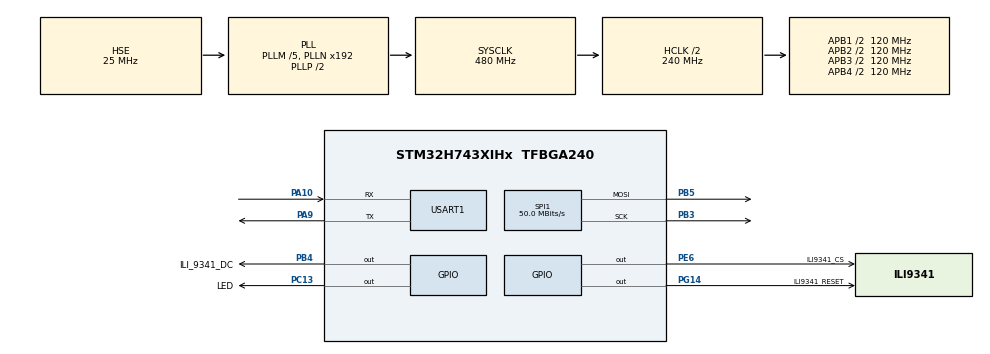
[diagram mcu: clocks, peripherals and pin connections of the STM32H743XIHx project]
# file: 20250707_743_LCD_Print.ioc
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CORTEX_M7.default_mode_Activation=1
Mcu.Family=STM32H7
Mcu.Name=STM32H743XIHx
Mcu.Package=TFBGA240
NVIC.PriorityGroup=NVIC_PRIORITYGROUP_4
PA10.Mode=Asynchronous
PA10.Signal=USART1_RX
PA13\ (JTMS/SWDIO).Mode=Serial_Wire
PA13\ (JTMS/SWDIO).Signal=DEBUG_JTMS-SWDIO
PA14\ (JTCK/SWCLK).Mode=Serial_Wire
PA14\ (JTCK/SWCLK).Signal=DEBUG_JTCK-SWCLK
PA9.Mode=Asynchronous
PA9.Signal=USART1_TX
PB3\ (JTDO/TRACESWO).Mode=TX_Only_Simplex_Unidirect_Master
PB3\ (JTDO/TRACESWO).Signal=SPI1_SCK
PB4\ (NJTRST).GPIO_Label=ILI_9341_DC
PB4\ (NJTRST).Signal=GPIO_Output
PB5.Mode=TX_Only_Simplex_Unidirect_Master
PB5.Signal=SPI1_MOSI
PC13.GPIO_Label=LED
PC13.Signal=GPIO_Output
PE6.GPIO_Label=ILI9341_CS
PE6.Signal=GPIO_Output
PG14.GPIO_Label=ILI9341_RESET
PG14.Signal=GPIO_Output
PH0-OSC_IN\ (PH0).Mode=HSE-External-Oscillator
PH0-OSC_IN\ (PH0).Signal=RCC_OSC_IN
PH1-OSC_OUT\ (PH1).Mode=HSE-External-Oscillator
PH1-OSC_OUT\ (PH1).Signal=RCC_OSC_OUT
ProjectManager.HeapSize=0x200
ProjectManager.StackSize=0x400
ProjectManager.TargetToolchain=STM32CubeIDE
RCC.ADCFreq_Value=50390625
RCC.APB1Freq_Value=120000000
RCC.APB2Freq_Value=120000000
RCC.APB3Freq_Value=120000000
RCC.APB4Freq_Value=120000000
RCC.CortexFreq_Value=480000000
RCC.D1PPRE=RCC_APB3_DIV2
RCC.D2PPRE1=RCC_APB1_DIV2
RCC.D2PPRE2=RCC_APB2_DIV2
RCC.D3PPRE=RCC_APB4_DIV2
RCC.DIVM1=5
RCC.DIVM3=25
RCC.DIVN1=192
RCC.DIVN3=200
RCC.HCLKFreq_Value=240000000
RCC.HPRE=RCC_HCLK_DIV2
RCC.PLLFRACN=0
RCC.PLLSourceVirtual=RCC_PLLSOURCE_HSE
RCC.SPI123CLockSelection=RCC_SPI123CLKSOURCE_PLL3
RCC.SYSCLKFreq_VALUE=480000000
RCC.SYSCLKSource=RCC_SYSCLKSOURCE_PLLCLK
RCC.USBFreq_Value=480000000
SPI1.BaudRatePrescaler=SPI_BAUDRATEPRESCALER_2
SPI1.CalculateBaudRate=50.0 MBits/s
SPI1.DataSize=SPI_DATASIZE_8BIT
SPI1.Direction=SPI_DIRECTION_2LINES_TXONLY
SPI1.Mode=SPI_MODE_MASTER
SPI1.VirtualType=VM_MASTER
USART1.VirtualMode-Asynchronous=VM_ASYNC
VP_MEMORYMAP_VS_MEMORYMAP.Mode=CurAppReg
board=custom

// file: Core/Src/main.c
/* USER CODE BEGIN Header */
/**
  ******************************************************************************
  * @file           : main.c
  * @brief          : Main program body
  ******************************************************************************
  * @attention
  *
  * Copyright (c) 2025 STMicroelectronics.
  * All rights reserved.
  *
  * This software is licensed under terms that can be found in the LICENSE file
  * in the root directory of this software component.
  * If no LICENSE file comes with this software, it is provided AS-IS.
  *
  ******************************************************************************
  */
/* USER CODE END Header */
#include "main.h"
#include "memorymap.h"
#include "spi.h"
#include "usart.h"
#include "gpio.h"

/* USER CODE BEGIN Includes */
#include <stdio.h>
#include "ili9341.h"
#include "fonts.h"
#include "testimg.h"
#include "pic_240x320.h"
/* USER CODE END Includes */

void SystemClock_Config(void);
static void MPU_Config(void);

/* USER CODE BEGIN 0 */
int __io_putchar(int ch)
{

 HAL_UART_Transmit(&huart1, (uint8_t *)&ch, 1, 1000);
 return ch;
}
/* USER CODE END 0 */

int main(void)
{

  /* MPU Configuration--------------------------------------------------------*/
  MPU_Config();

  /* MCU Configuration--------------------------------------------------------*/

  /* Reset of all peripherals, Initializes the Flash interface and the Systick. */
  HAL_Init();

  /* Configure the system clock */
  SystemClock_Config();

  /* Initialize all configured peripherals */
  MX_GPIO_Init();
  MX_USART1_UART_Init();
  MX_SPI1_Init();
  /* USER CODE BEGIN 2 */

ILI9341_Init();
  uint32_t counter = 0;
  ILI9341_Init();
  /* USER CODE END 2 */

  /* Infinite loop */
  /* USER CODE BEGIN WHILE */
  while (1)
  {
	  ILI9341_FillScreen(ILI9341_BLACK);
	  HAL_Delay(500);
	  ILI9341_FillScreen(ILI9341_RED);
	  HAL_Delay(500);
	  ILI9341_FillScreen(ILI9341_BLUE);
	  HAL_Delay(500);
    /* USER CODE END WHILE */

  }
}

void SystemClock_Config(void)
{
  RCC_OscInitTypeDef RCC_OscInitStruct = {0};
  RCC_ClkInitTypeDef RCC_ClkInitStruct = {0};

  /** Supply configuration update enable
  */
  HAL_PWREx_ConfigSupply(PWR_LDO_SUPPLY);

  /** Configure the main internal regulator output voltage
  */
  __HAL_PWR_VOLTAGESCALING_CONFIG(PWR_REGULATOR_VOLTAGE_SCALE0);

  while(!__HAL_PWR_GET_FLAG(PWR_FLAG_VOSRDY)) {}

  /** Initializes the RCC Oscillators according to the specified parameters
  * in the RCC_OscInitTypeDef structure.
  */
  RCC_OscInitStruct.OscillatorType = RCC_OSCILLATORTYPE_HSE;
  RCC_OscInitStruct.HSEState = RCC_HSE_ON;
  RCC_OscInitStruct.PLL.PLLState = RCC_PLL_ON;
  RCC_OscInitStruct.PLL.PLLSource = RCC_PLLSOURCE_HSE;
  RCC_OscInitStruct.PLL.PLLM = 5;
  RCC_OscInitStruct.PLL.PLLN = 192;
  RCC_OscInitStruct.PLL.PLLP = 2;
  RCC_OscInitStruct.PLL.PLLQ = 2;
  RCC_OscInitStruct.PLL.PLLR = 2;
  RCC_OscInitStruct.PLL.PLLRGE = RCC_PLL1VCIRANGE_2;
  RCC_OscInitStruct.PLL.PLLVCOSEL = RCC_PLL1VCOWIDE;
  RCC_OscInitStruct.PLL.PLLFRACN = 0;
  if (HAL_RCC_OscConfig(&RCC_OscInitStruct) != HAL_OK)
  {
    Error_Handler();
  }

  /** Initializes the CPU, AHB and APB buses clocks
  */
  RCC_ClkInitStruct.ClockType = RCC_CLOCKTYPE_HCLK|RCC_CLOCKTYPE_SYSCLK
                              |RCC_CLOCKTYPE_PCLK1|RCC_CLOCKTYPE_PCLK2
                              |RCC_CLOCKTYPE_D3PCLK1|RCC_CLOCKTYPE_D1PCLK1;
  RCC_ClkInitStruct.SYSCLKSource = RCC_SYSCLKSOURCE_PLLCLK;
  RCC_ClkInitStruct.SYSCLKDivider = RCC_SYSCLK_DIV1;
  RCC_ClkInitStruct.AHBCLKDivider = RCC_HCLK_DIV2;
  RCC_ClkInitStruct.APB3CLKDivider = RCC_APB3_DIV2;
  RCC_ClkInitStruct.APB1CLKDivider = RCC_APB1_DIV2;
  RCC_ClkInitStruct.APB2CLKDivider = RCC_APB2_DIV2;
  RCC_ClkInitStruct.APB4CLKDivider = RCC_APB4_DIV2;

  if (HAL_RCC_ClockConfig(&RCC_ClkInitStruct, FLASH_LATENCY_4) != HAL_OK)
  {
    Error_Handler();
  }
}

 /* MPU Configuration */

void MPU_Config(void)
{
  MPU_Region_InitTypeDef MPU_InitStruct = {0};

  /* Disables the MPU */
  HAL_MPU_Disable();

  /** Initializes and configures the Region and the memory to be protected
  */
  MPU_InitStruct.Enable = MPU_REGION_ENABLE;
  MPU_InitStruct.Number = MPU_REGION_NUMBER0;
  MPU_InitStruct.BaseAddress = 0x0;
  MPU_InitStruct.Size = MPU_REGION_SIZE_4GB;
  MPU_InitStruct.SubRegionDisable = 0x87;
  MPU_InitStruct.TypeExtField = MPU_TEX_LEVEL0;
  MPU_InitStruct.AccessPermission = MPU_REGION_NO_ACCESS;
  MPU_InitStruct.DisableExec = MPU_INSTRUCTION_ACCESS_DISABLE;
  MPU_InitStruct.IsShareable = MPU_ACCESS_SHAREABLE;
  MPU_InitStruct.IsCacheable = MPU_ACCESS_NOT_CACHEABLE;
  MPU_InitStruct.IsBufferable = MPU_ACCESS_NOT_BUFFERABLE;

  HAL_MPU_ConfigRegion(&MPU_InitStruct);
  /* Enables the MPU */
  HAL_MPU_Enable(MPU_PRIVILEGED_DEFAULT);

}

void Error_Handler(void)
{
  __disable_irq();
  while (1)
  {
  }
}
